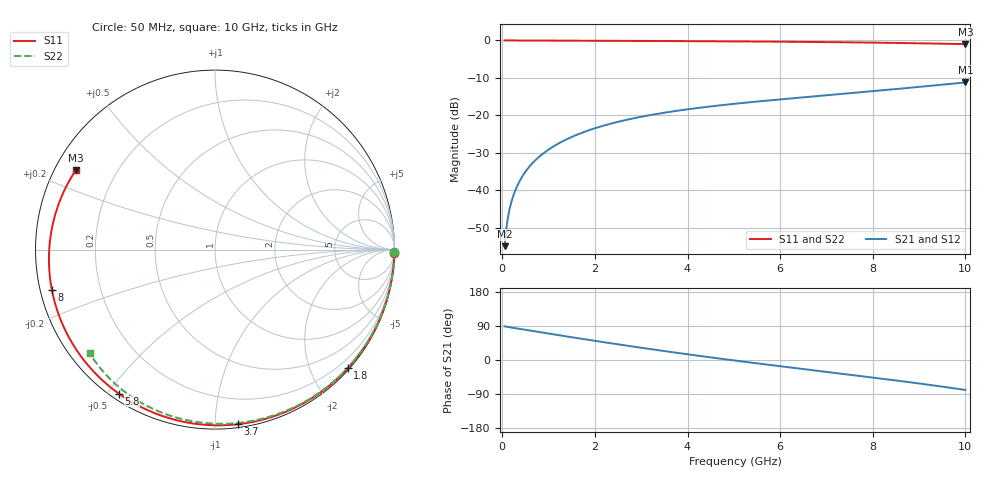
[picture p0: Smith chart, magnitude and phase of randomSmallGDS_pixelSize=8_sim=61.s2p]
! freq	dB(S11)	phase(S11)	dB(S12)	phase(S12)
!  dB(S21)	phase(S21)	dB(S22)	phase(S22)
!S-par simulation data
#  GHz  S  DB  R 50
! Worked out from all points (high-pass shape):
!   200 points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, 50 MHz to 10 GHz, reference 50 ohm
!   highest |S21| = -11.22 dB at 10 GHz (marker M1); lowest = -55.0 dB at 50 MHz (marker M2)
!   |S21| within 3 dB of the highest: 7.402 GHz to end of sweep
!   lowest |S11| = -1.0 dB at 10 GHz (marker M3), VSWR 17.64, Z = 3.04 + j13.3 ohm
!   |S11| at or under -10 dB: nowhere
!   |S22| runs from -0.9 to 0.0 dB; largest |S21 - S12| = 0
!   S11 on the Smith chart (normalised r, x): 50 MHz: 0, -96; 1.8 GHz: 0.03, -2.62; 3.7 GHz: 0.02, -1.14; 5.8 GHz: 0.02, -0.53; 8 GHz: 0.03, -0.12; 10 GHz: 0.06, +0.27
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0.05  -0.00 -1.2  -54.96 88.9  -54.96 88.9  -0.00 -0.8
0.1  -0.00 -2.4  -48.95 87.8  -48.95 87.8  -0.00 -1.7
0.15  -0.00 -3.6  -45.44 86.7  -45.44 86.7  -0.00 -2.5
0.2  -0.01 -4.7  -42.96 85.6  -42.96 85.6  -0.00 -3.3
0.35  -0.01 -8.3  -38.16 82.7  -38.16 82.7  -0.01 -5.8
0.5  -0.02 -11.8  -35.06 79.8  -35.06 79.8  -0.01 -8.2
0.7  -0.02 -16.5  -32.17 75.8  -32.17 75.8  -0.02 -11.5
1  -0.03 -23.5  -29.15 69.8  -29.15 69.8  -0.03 -16.4
1.75  -0.07 -40.7  -24.53 55.3  -24.53 55.3  -0.05 -28.4
1.8  -0.07 -41.8  -24.30 54.3  -24.30 54.3  -0.05 -29.2
2.6  -0.11 -59.5  -21.44 39.5  -21.44 39.5  -0.08 -41.7
3.4  -0.15 -76.4  -19.50 25.3  -19.50 25.3  -0.12 -53.9
3.7  -0.16 -82.6  -18.92 20.1  -18.92 20.1  -0.13 -58.3
4.35  -0.20 -95.7  -17.84 9.3  -17.84 9.3  -0.16 -67.7
5.05  -0.25 -109.4  -16.87 -1.9  -16.87 -1.9  -0.20 -77.6
5.8  -0.31 -123.8  -15.97 -13.4  -15.97 -13.4  -0.25 -87.8
6.7  -0.40 -140.8  -14.98 -26.8  -14.98 -26.8  -0.33 -99.6
7.35  -0.48 -153.3  -14.28 -36.5  -14.28 -36.5  -0.39 -107.9
8  -0.57 -166.1  -13.56 -46.2  -13.56 -46.2  -0.47 -116.0
8.35  -0.63 -173.2  -13.16 -51.6  -13.16 -51.6  -0.52 -120.3
9.2  -0.79 168.8  -12.17 -65.2  -12.17 -65.2  -0.67 -130.7
10  -0.99 150.2  -11.22 -79.0  -11.22 -79.0  -0.86 -140.4
